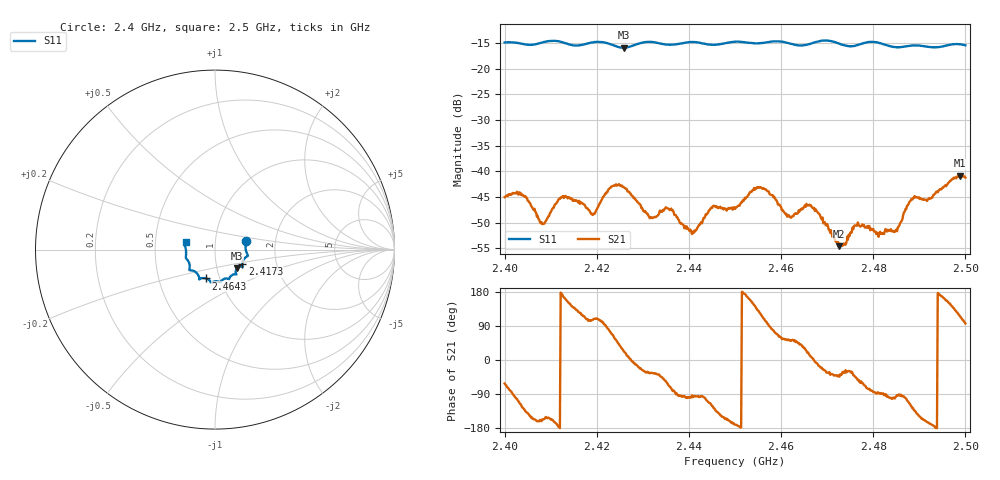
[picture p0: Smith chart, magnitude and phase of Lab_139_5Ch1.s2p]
# Hz S RI R 50
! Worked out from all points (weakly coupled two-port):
!   601 points, 2.4 GHz to 2.5 GHz, reference 50 ohm
!   highest |S21| = -40.88 dB at 2.4988 GHz (marker M1); lowest = -54.6 dB at 2.4725 GHz (marker M2)
!   lowest |S11| = -15.9 dB at 2.4258 GHz (marker M3), VSWR 1.38, Z = 62.3 - j13.3 ohm
!   |S11| at or under -10 dB: start of sweep to end of sweep
!   S12 and S22 are empty: the file has one direction only
!   S11 on the Smith chart (normalised r, x): 2.4 GHz: 1.41, +0.14; 2.4173 GHz: 1.34, -0.23; 2.4643 GHz: 0.86, -0.28; 2.5 GHz: 0.72, +0.06
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2.4e9  0.1729 0.0493  0.00262 -0.00493  0 0  0 0
2.404167e9  0.1717 0.0233  -0.00362 -0.0045  0 0  0 0
2.408167e9  0.1786 -0.0221  -0.0028 -0.00121  0 0  0 0
2.412167e9  0.1791 -0.0375  -0.00555 0.000213  0 0  0 0
2.416667e9  0.1528 -0.0744  -0.00242 0.0043  0 0  0 0
2.417333e9  0.1521 -0.0818  -0.00192 0.00431  0 0  0 0
2.419333e9  0.1536 -0.0958  -0.00122 0.00366  0 0  0 0
2.425833e9  0.1217 -0.1037  0.00641 0.00279  0 0  0 0
2.433333e9  0.1131 -0.1369  0.00294 -0.00232  0 0  0 0
2.441e9  0.0777 -0.1645  -0.000303 -0.00247  0 0  0 0
2.445167e9  0.0545 -0.1618  -0.00241 -0.00384  0 0  0 0
2.45e9  0.0294 -0.1809  -0.00423 -0.000707  0 0  0 0
2.455333e9  -0.00112 -0.1769  -0.00398 0.00577  0 0  0 0
2.461667e9  -0.0281 -0.1746  0.00222 0.003  0 0  0 0
2.464333e9  -0.0499 -0.1606  0.00321 0.00273  0 0  0 0
2.466667e9  -0.076 -0.1596  0.00444 0.000466  0 0  0 0
2.4725e9  -0.0892 -0.1519  0.00142 -0.0012  0 0  0 0
2.476333e9  -0.1199 -0.1183  0.002 -0.00216  0 0  0 0
2.483333e9  -0.1405 -0.0899  -0.000343 -0.00259  0 0  0 0
2.488667e9  -0.1616 -0.0476  -0.00336 -0.00435  0 0  0 0
2.498833e9  -0.1693 0.0355  -0.00394 0.00814  0 0  0 0
2.5e9  -0.1636 0.0425  -0.00096 0.00861  0 0  0 0
